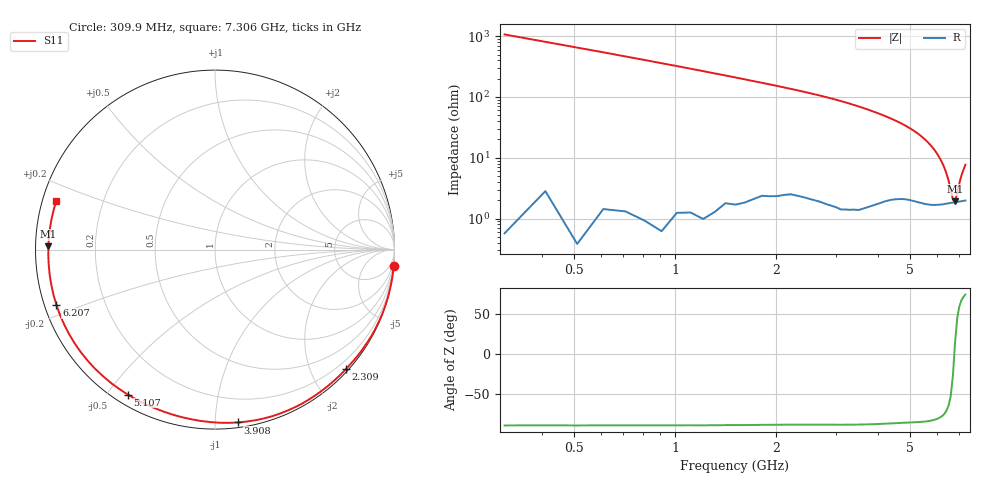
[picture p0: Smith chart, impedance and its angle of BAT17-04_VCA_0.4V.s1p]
! Infineon Technologies  Discrete & RF Semiconductors
! BAT17-04
! VCA = 0.4 V
! One-Port S-Parameters
# Hz  S  MA  R  50
!f  S11
!Hz  Mag  Ang
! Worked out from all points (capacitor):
!   71 points, 309.9 MHz to 7.306 GHz, reference 50 ohm
!   read as one part to ground: C = 478 fF near 309.9 MHz
!   lowest |Z| = 1.92 ohm at 6.807 GHz (marker M1)
!   series resonance near 6.772 GHz, so ESL is about 1.2 nH
!   S11 on the Smith chart (normalised r, x): 309.9 MHz: 0, -21; 2.309 GHz: 0.05, -2.58; 3.908 GHz: 0.03, -1.14; 5.107 GHz: 0.04, -0.57; 6.207 GHz: 0.03, -0.17; 7.306 GHz: 0.04, +0.15
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3.0985e8  1 -5.4
8.096e8  0.9994 -14.0
1.2094e9  0.9987 -21.3
1.6092e9  0.9955 -28.7
2.10895e9  0.9894 -38.4
2.30885e9  0.9877 -42.4
2.70865e9  0.9862 -50.9
3.0085e9  0.9857 -58.0
3.2084e9  0.9848 -63.0
3.50825e9  0.9815 -71.0
3.8081e9  0.9743 -79.5
3.90805e9  0.9714 -82.4
4.10795e9  0.9651 -88.4
4.30785e9  0.958 -94.6
4.50775e9  0.9519 -101.0
4.70765e9  0.9469 -107.5
4.90755e9  0.9438 -114.1
5.10745e9  0.9427 -121.0
5.30735e9  0.9422 -128.1
5.6072e9  0.9415 -139.0
5.70715e9  0.941 -142.7
5.90705e9  0.9393 -150.0
6.10695e9  0.937 -157.2
6.2069e9  0.9359 -160.7
6.50675e9  0.9318 -171.1
6.8066e9  0.9285 178.9
7.10645e9  0.9265 169.3
7.30635e9  0.9253 163.2
